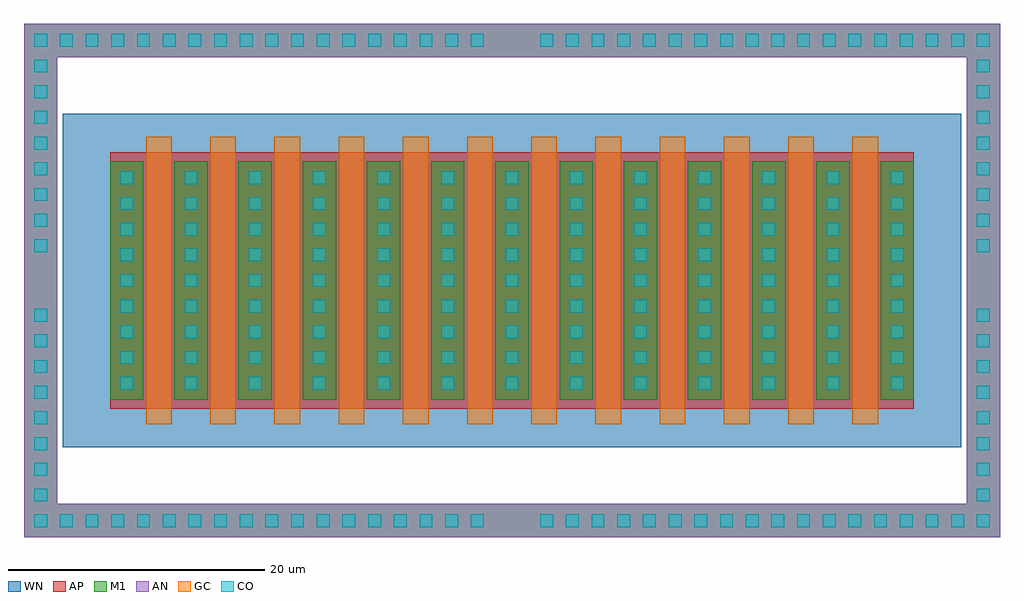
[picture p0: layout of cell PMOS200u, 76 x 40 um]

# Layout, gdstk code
import gdstk
lib = gdstk.Library(unit=1e-6, precision=1e-09)
def R(c, l, rs):  # rectangles x0, y0, x1, y1
    for r in rs: c.add(gdstk.rectangle(r[:2], r[2:], *l))
def A(c, l, x, y, w, h, nx, ny, dx, dy):  # array of equal rectangles
    R(c, l, [(x+i*dx, y+j*dy, x+i*dx+w, y+j*dy+h) for i in range(nx) for j in range(ny)])
def P(c, l, *ps):  # polygons
    for p in ps: c.add(gdstk.Polygon(p, *l))
AP = (3, 1)
AN = (3, 2)
GC = (8, 1)
CO = (11, 0)
M1 = (13, 0)
WN = (140, 0)

fet_p = lib.new_cell('fet_p')
R(fet_p, AP, [(-26.3,-10,26.3,10)])
A(fet_p, CO, -25.5, -8.5, 1, 1, 11, 9, 5, 2)
A(fet_p, M1, -26.3, -9.3, 2.6, 18.6, 11, 1, 5, 0)
fet_p.add(gdstk.FlexPath([(2.5,-11.2),(2.5,11.2)], 2, ends="flush", simple_path=True, layer=8, datatype=1))  # GC
fet_p.add(gdstk.FlexPath([(-2.5,-11.2),(-2.5,11.2)], 2, ends="flush", simple_path=True, layer=8, datatype=1))  # GC
fet_p.add(gdstk.FlexPath([(7.5,-11.2),(7.5,11.2)], 2, ends="flush", simple_path=True, layer=8, datatype=1))  # GC
fet_p.add(gdstk.FlexPath([(-7.5,-11.2),(-7.5,11.2)], 2, ends="flush", simple_path=True, layer=8, datatype=1))  # GC
fet_p.add(gdstk.FlexPath([(12.5,-11.2),(12.5,11.2)], 2, ends="flush", simple_path=True, layer=8, datatype=1))  # GC
fet_p.add(gdstk.FlexPath([(-12.5,-11.2),(-12.5,11.2)], 2, ends="flush", simple_path=True, layer=8, datatype=1))  # GC
fet_p.add(gdstk.FlexPath([(17.5,-11.2),(17.5,11.2)], 2, ends="flush", simple_path=True, layer=8, datatype=1))  # GC
fet_p.add(gdstk.FlexPath([(-17.5,-11.2),(-17.5,11.2)], 2, ends="flush", simple_path=True, layer=8, datatype=1))  # GC
fet_p.add(gdstk.FlexPath([(22.5,-11.2),(22.5,11.2)], 2, ends="flush", simple_path=True, layer=8, datatype=1))  # GC
fet_p.add(gdstk.FlexPath([(-22.5,-11.2),(-22.5,11.2)], 2, ends="flush", simple_path=True, layer=8, datatype=1))  # GC

fet_p_1 = lib.new_cell('fet_p$1')
R(fet_p_1, AP, [(-3.8,-10,3.8,10)])
A(fet_p_1, CO, -3, -8.5, 1, 1, 1, 9, 0, 2)
A(fet_p_1, CO, 2, -8.5, 1, 1, 1, 9, 0, 2)
R(fet_p_1, M1, [(-3.8,-9.3,-1.2,9.3), (1.2,-9.3,3.8,9.3)])
fet_p_1.add(gdstk.FlexPath([(0,-11.2),(0,11.2)], 2, ends="flush", simple_path=True, layer=8, datatype=1))  # GC

cont_n = lib.new_cell('cont_n')
P(cont_n, AN, [(-38,-20),(-38,17.4),(-35.4,17.4),(-35.4,-17.4),(35.4,-17.4),(35.4,17.4),(-38,17.4),(-38,20),(38,20),(38,-20)])
A(cont_n, CO, -37.2, -19.2, 1, 1, 1, 9, 0, 2)
A(cont_n, CO, -37.2, -19.2, 1, 1, 18, 2, 2, 37.4)
A(cont_n, CO, 2.2, -19.2, 1, 1, 18, 2, 2, 37.4)
A(cont_n, CO, 36.2, -19.2, 1, 1, 1, 9, 0, 2)
A(cont_n, CO, -37.2, 2.2, 1, 1, 1, 9, 0, 2)
A(cont_n, CO, 36.2, 2.2, 1, 1, 1, 9, 0, 2)
P(cont_n, M1, [(-38,-20),(-38,17.4),(-35.4,17.4),(-35.4,-17.4),(35.4,-17.4),(35.4,17.4),(-38,17.4),(-38,20),(38,20),(38,-20)])

pmos200u = lib.new_cell('PMOS200u')
R(pmos200u, WN, [(-35,-13,35,13)])
pmos200u.add(gdstk.Reference(fet_p, (0,0)))
pmos200u.add(gdstk.Reference(fet_p_1, (-27.5,0)))
pmos200u.add(gdstk.Reference(fet_p_1, (27.5,0)))
pmos200u.add(gdstk.Reference(cont_n, (0,0)))

lib.write_gds('PMOS200u.gds')
